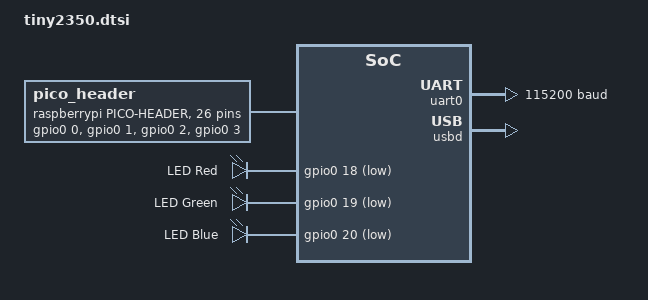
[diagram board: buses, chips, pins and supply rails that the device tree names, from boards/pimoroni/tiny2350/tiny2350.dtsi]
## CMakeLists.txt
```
cmake_minimum_required(VERSION 3.20.0)

list(APPEND BOARD_ROOT ${CMAKE_CURRENT_LIST_DIR})
list(APPEND ZEPHYR_EXTRA_MODULES ${CMAKE_CURRENT_LIST_DIR}/modules)
list(APPEND DTS_ROOT ${CMAKE_CURRENT_LIST_DIR}/modules)
find_package(Zephyr REQUIRED)
project(my_zephyr_app)

target_sources(app PRIVATE src/main.cpp)
```

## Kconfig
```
source "Kconfig.zephyr"

menu "Application options"

  config BLINKY_SLEEP_MS
    int "Time in ms between LED toggle"
    default 500

endmenu
```

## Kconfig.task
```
choice 
  prompt "LED blink sleep time"
  default LED_BLINK_1S

config LED_BLINK_250MS
  bool "250ms (very fast)"

config LED_BLINK_500MS
  bool "500ms (fast)"

config LED_BLINK_1S
  bool "1s (medium)"

config LED_BLINK_2S
  bool "2s (slow)"
endchoice

config LED_BLINK_SLEEP_TIME
  int
  default 250 if LED_BLINK_250MS
  default 500 if LED_BLINK_500MS
  default 1000 if LED_BLINK_1S
  default 2000 if LED_BLINK_2S

menuconfig ADVANCED_LED_SETTINGS
  bool "Advanced LED settings"
  default n

if ADVANCED_LED_SETTINGS
config LED_BRIGHTNESS
  int "LED brightness (0-100)"
  default 100
  range 0 100

config LED_FADE_DURATION
  int "LED fade duration (ms)"
  default 500
  range 0 5000
    
menu "Expert settings"
  visible if ADVANCED_LED_SETTINGS
config ENABLE_LED_DEBUGGING
  bool "Enable LED debugging"
  default n
config CUSTOM_BLINK_PATTERN
  bool "Custom blink pattern"
  default n
endmenu

endif
```

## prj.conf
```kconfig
CONFIG_GPIO=y
CONFIG_SENSOR=y
CONFIG_SHELL=y
CONFIG_CUSTOM_LED=y
CONFIG_CUSTOM_LED_SHELL=y
```

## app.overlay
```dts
/ {
    custom_led_0: custom-led0 {
        compatible = "course,custom-led";
        gpios = <&gpioa 5 GPIO_ACTIVE_HIGH>;  /* LD2, the only user LED */
    };

    aliases {
        ledr = &custom_led_0;
        ledg = &custom_led_0;
        ledb = &custom_led_0;
    };
};
```

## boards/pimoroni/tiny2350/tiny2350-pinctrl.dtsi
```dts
/*
 * Copyright (c) 2024 Andrew Featherstone
 * SPDX-License-Identifier: Apache-2.0
 */

#include <zephyr/dt-bindings/pinctrl/rpi-pico-rp2350a-pinctrl.h>

&pinctrl {
	uart0_default: uart0_default {
		group1 {
			pinmux = <UART0_TX_P0>;
		};

		group2 {
			pinmux = <UART0_RX_P1>;
			input-enable;
		};
	};

	pwm_ch4b_default: pwm_ch4b_default {
		group1 {
			pinmux = <PWM_4B_P25>;
		};
	};
};
```

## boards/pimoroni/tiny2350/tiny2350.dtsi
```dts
/*
 * Copyright (c) 2024 Andrew Featherstone
 *
 * SPDX-License-Identifier: Apache-2.0
 */

#include <freq.h>

#include <zephyr/dt-bindings/pwm/pwm.h>

#include "tiny2350-pinctrl.dtsi"

/ {
	chosen {
		zephyr,sram = &sram0;
		zephyr,flash = &flash0;
		zephyr,flash-controller = &qmi;
		zephyr,console = &cdc_acm_uart0;
		zephyr,shell-uart = &cdc_acm_uart0;
	};

	pico_header: connector {
		compatible = "raspberrypi,pico-header";
		#gpio-cells = <2>;
		gpio-map-mask = <0xffffffff 0xffffffc0>;
		gpio-map-pass-thru = <0 0x3f>;
		gpio-map = <0 0 &gpio0 0 0>,	/* GP0 */
			   <1 0 &gpio0 1 0>,	/* GP1 */
			   <2 0 &gpio0 2 0>,	/* GP2 */
			   <3 0 &gpio0 3 0>,	/* GP3 */
			   <4 0 &gpio0 4 0>,	/* GP4 */
			   <5 0 &gpio0 5 0>,	/* GP5 */
			   <6 0 &gpio0 6 0>,	/* GP6 */
			   <7 0 &gpio0 7 0>,	/* GP7 */
			   <8 0 &gpio0 8 0>,	/* GP8 */
			   <9 0 &gpio0 9 0>,	/* GP9 */
			   <10 0 &gpio0 10 0>,	/* GP10 */
			   <11 0 &gpio0 11 0>,	/* GP11 */
			   <12 0 &gpio0 12 0>,	/* GP12 */
			   <13 0 &gpio0 13 0>,	/* GP13 */
			   <14 0 &gpio0 14 0>,	/* GP14 */
			   <15 0 &gpio0 15 0>,	/* GP15 */
			   <16 0 &gpio0 16 0>,	/* GP16 */
			   <17 0 &gpio0 17 0>,	/* GP17 */
			   <18 0 &gpio0 18 0>,	/* GP18 */
			   <19 0 &gpio0 19 0>,	/* GP19 */
			   <20 0 &gpio0 20 0>,	/* GP20 */
			   <21 0 &gpio0 21 0>,	/* GP21 */
			   <22 0 &gpio0 22 0>,	/* GP22 */
			   <26 0 &gpio0 26 0>,	/* GP26 */
			   <27 0 &gpio0 27 0>,	/* GP27 */
			   <28 0 &gpio0 28 0>;	/* GP28 */
	};

	leds {
		compatible = "gpio-leds";

		ledr: led_r {
			gpios = <&gpio0 18 GPIO_ACTIVE_LOW>;
			label = "LED Red";
		};

		ledg: led_g {
			gpios = <&gpio0 19 GPIO_ACTIVE_LOW>;
			label = "LED Green";
		};

		ledb: led_b {
			gpios = <&gpio0 20 GPIO_ACTIVE_LOW>;
			label = "LED Blue";
		};
	};
};

&flash0 {
	reg = <0x10000000 DT_SIZE_M(4)>;
};

&uart0 {
	current-speed = <115200>;
	status = "okay";
	pinctrl-0 = <&uart0_default>;
	pinctrl-names = "default";
};

gpio0_lo: &gpio0 {
	status = "okay";
};

&pwm {
	pinctrl-0 = <&pwm_ch4b_default>;
	pinctrl-names = "default";
	divider-int-0 = <255>;
};

zephyr_udc0: &usbd {
	status = "okay";

	cdc_acm_uart0: cdc_acm_uart0 {
		compatible = "zephyr,cdc-acm-uart";
	};
};

pico_serial: &uart0 {};

pico_serial0: &uart0 {};

/ {
	aliases {
		ledr = &ledr;
		ledg = &ledg;
		ledb = &ledb;
	};
};
```

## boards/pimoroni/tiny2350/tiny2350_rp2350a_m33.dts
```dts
/*
 * Copyright (c) 2024 Andrew Featherstone
 *
 * SPDX-License-Identifier: Apache-2.0
 */

/dts-v1/;

#include <raspberrypi/rpi_pico/rp2350a.dtsi>
#include <raspberrypi/rpi_pico/m33.dtsi>
#include "tiny2350.dtsi"
```

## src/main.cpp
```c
#include <zephyr/kernel.h>
#include <zephyr/device.h>
#include <zephyr/drivers/sensor.h>

#include <custom_led/custom_led.h>

static const struct device *const led = DEVICE_DT_GET(DT_ALIAS(ledr));

int main(void)
{
	if (!device_is_ready(led)) {
		return 0;
	}
	custom_led_set_period(led, 500);
	while (true) {
		struct sensor_value val;

		sensor_sample_fetch(led);
		k_msleep(custom_led_get_period(led));
		sensor_channel_get(led, SENSOR_CHAN_ALL, &val);
		k_msleep(custom_led_get_period(led));
	}
	return 0;
}
```
